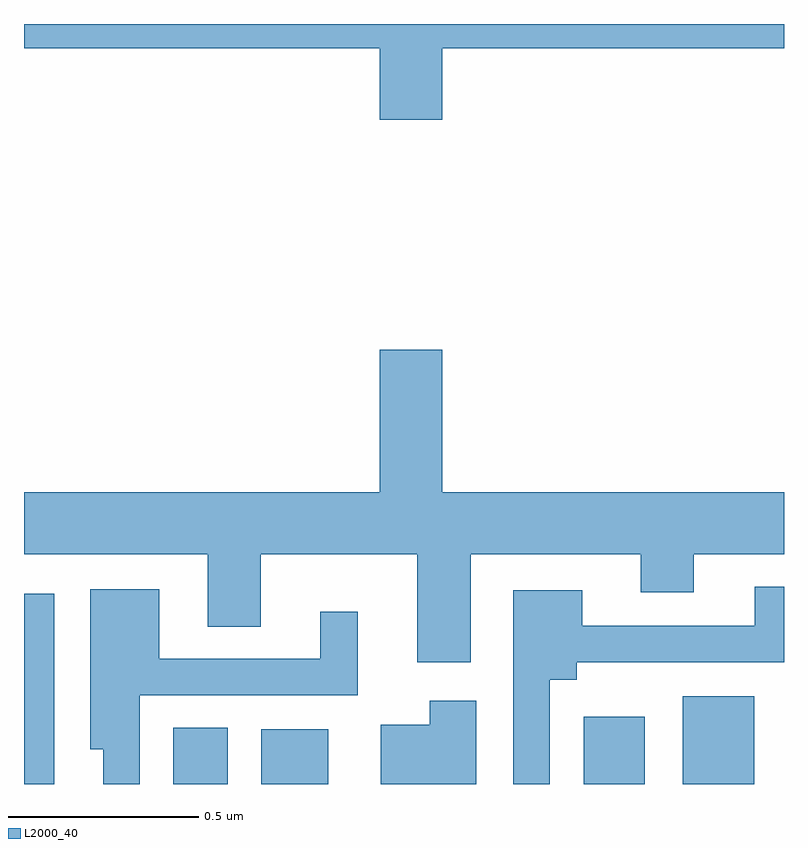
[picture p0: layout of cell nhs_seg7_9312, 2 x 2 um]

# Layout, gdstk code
import gdstk
lib = gdstk.Library(unit=1e-6, precision=1e-09)
def R(c, l, rs):  # rectangles x0, y0, x1, y1
    for r in rs: c.add(gdstk.rectangle(r[:2], r[2:], *l))
def P(c, l, *ps):  # polygons
    for p in ps: c.add(gdstk.Polygon(p, *l))
L2000_40 = (2000, 40)

nhs_seg7_9312 = lib.new_cell('nhs_seg7_9312')
R(nhs_seg7_9312, L2000_40, [(236,1012,236.08,1012.501), (236.393,1012,236.536,1012.148), (236.624,1012,236.8,1012.144), (237.473,1012,237.634,1012.177), (237.734,1012,237.922,1012.231)])
P(nhs_seg7_9312, L2000_40, [(237.1,1013.936),(238,1013.936),(238,1014),(236,1014),(236,1013.936),(236.936,1013.936),(236.936,1013.748),(237.1,1013.748)],
  [(237.175,1012.604),(237.623,1012.604),(237.623,1012.505),(237.763,1012.505),(237.763,1012.604),(238,1012.604),(238,1012.768),(237.1,1012.768),(237.1,1013.143),(236.936,1013.143),(236.936,1012.768),(236,1012.768),(236,1012.604),(236.483,1012.604),(236.483,1012.414),(236.623,1012.414),(236.623,1012.604),(237.035,1012.604),(237.035,1012.32),(237.175,1012.32)],
  [(237.384,1012.274),(237.454,1012.274),(237.454,1012.32),(238,1012.32),(238,1012.519),(237.923,1012.519),(237.923,1012.416),(237.469,1012.416),(237.469,1012.51),(237.288,1012.51),(237.288,1012),(237.384,1012)],
  [(236.304,1012.233),(236.878,1012.233),(236.878,1012.453),(236.78,1012.453),(236.78,1012.329),(236.356,1012.329),(236.356,1012.513),(236.174,1012.513),(236.174,1012.091),(236.208,1012.091),(236.208,1012),(236.304,1012)],
  [(237.19,1012.219),(237.068,1012.219),(237.068,1012.156),(236.939,1012.156),(236.939,1012),(237.19,1012)])

lib.write_gds('nhs_seg7_9312.gds')
